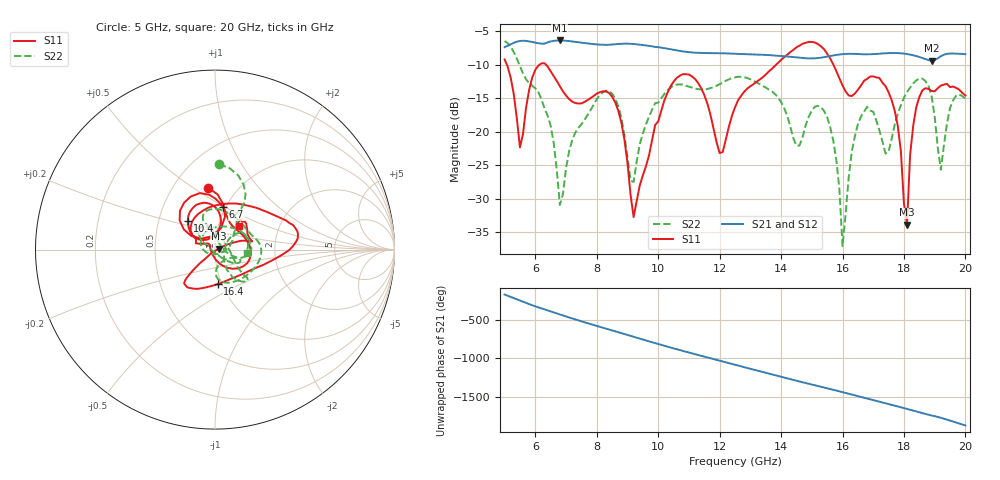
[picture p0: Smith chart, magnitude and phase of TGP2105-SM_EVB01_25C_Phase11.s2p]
! Date: Wednesday, June 05, 2013  1:50 PM
! Filename: C:\Data\Mike_Arnold\TGP2105-SM\Over_Temp\TGP2105-SM_EVB01_25C_Phase11.s2p
! Comments:
!^VDC(V):5.000
!^VDC(mA):0.070
!%Freq(GHz),S11(dB),S11(ang),S21(dB),S21(ang),S12(dB),S12(ang),S22(dB),S22(ang)
# GHz  S  DB  R  50
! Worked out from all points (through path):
!   151 points, 5 GHz to 20 GHz, reference 50 ohm
!   highest |S21| = -6.34 dB at 6.8 GHz (marker M1); lowest = -9.3 dB at 18.9 GHz (marker M2)
!   lowest |S11| = -33.8 dB at 18.1 GHz (marker M3), VSWR 1.04, Z = 52 + j0.461 ohm
!   |S11| at or under -10 dB: 5.077 GHz to 6.128 GHz (1.051 GHz wide, 18.8 % of centre); 6.354 GHz to 13.83 GHz (7.474 GHz wide, 74.1 % of centre); 15.71 GHz to end of sweep
!   |S22| runs from -37.0 to -6.4 dB; largest |S21 - S12| = 0.002
!   S11 on the Smith chart (normalised r, x): 5 GHz: 0.73, +0.58; 6.7 GHz: 0.97, +0.49; 10.4 GHz: 0.70, +0.23; 16.4 GHz: 0.96, -0.38; 20 GHz: 1.25, +0.34
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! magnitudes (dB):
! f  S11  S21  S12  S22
! 5 GHz  -9.2  -7.3  -7.4  -6.4
! 5.5 GHz  -22.3  -6.4  -6.4  -10.2
! 6 GHz  -10.7  -6.7  -6.7  -13.5
! 6.7 GHz  -12.4  -6.4  -6.4  -25.8
! 6.8 GHz  -13.2  -6.3  -6.4  -30.9
! 7.5 GHz  -15.7  -6.7  -6.7  -18.9
! 8.6 GHz  -15.6  -6.9  -6.9  -15.0
! 9.2 GHz  -32.7  -6.9  -6.9  -27.5
! 10 GHz  -18.4  -7.3  -7.4  -15.6
! 10.4 GHz  -13.2  -7.7  -7.7  -13.4
! 12 GHz  -23.1  -8.2  -8.3  -12.9
! 12.5 GHz  -16.3  -8.3  -8.3  -11.8
! 15 GHz  -6.6  -9.0  -9.0  -16.8
! 15.7 GHz  -9.9  -8.6  -8.6  -21.3
! 16 GHz  -13.1  -8.4  -8.4  -37.0
! 16.4 GHz  -14.3  -8.3  -8.4  -20.7
! 17.5 GHz  -14.1  -8.2  -8.3  -22.9
! 18.1 GHz  -33.8  -8.4  -8.4  -14.0
! 18.4 GHz  -16.3  -8.7  -8.7  -12.3
! 18.9 GHz  -13.9  -9.3  -9.4  -14.6
! 19.2 GHz  -13.1  -8.7  -8.7  -25.6
! 20 GHz  -14.5  -8.4  -8.4  -15.0
